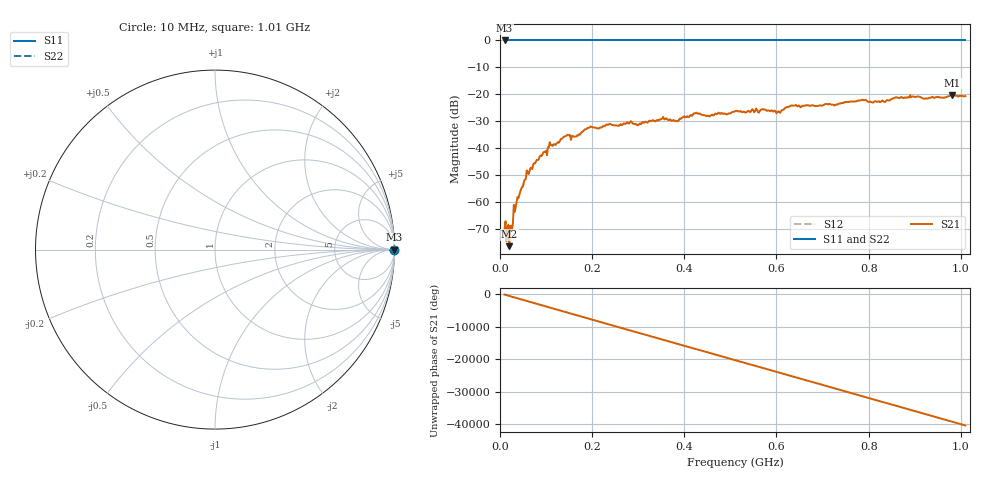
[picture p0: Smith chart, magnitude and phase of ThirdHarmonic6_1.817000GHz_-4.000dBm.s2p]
! 8/16/2025 10:00:54 PM
! C:\ANRITSUVNA\TEMP\TEMP.S2P
! CHANNEL.1
! TR.MEASUREMENT
! RAW.DATA
! RF.CORRECTION.OFF
! AVERAGING.OFF
! IF.BANDWIDTH: 5KHZ
! SWEEPTYPE:  FREQ.SWEEP(Linear)
! Reference Plane Port Info
! PORT:  PORT1  PORT2
! DISTANCE:  0  m  0  m
! TIME:  0  s  0  s
! PHASE.OFFSET:  0  deg.  0  deg.
! LOSS:  0  dB  0  dB
! REF.LOSS:  0  dB  0  dB
! REF.FREQ:  0  Hz  0  Hz
! Power Info
! POWER:  -20  dBm  -20  dBm
! EFF.POWER:  -20  dBm  -20  dBm
! SOURCE.ATTEN:  0  dB  0  dB
! TEST.ATTEN:  0  dB  0  dB
# GHZ S RI R 50.0
! FREQ.GHZ  S11RE  S11IM  S21RE  S21IM  S12RE  S12IM  S22RE  S22IM
!; PortSelection: Port_12
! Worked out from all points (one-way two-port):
!   501 points, 10 MHz to 1.01 GHz, reference 50 ohm
!   highest |S21| = -20.25 dB at 982 MHz (marker M1); lowest = -76.3 dB at 20 MHz (marker M2)
!   lowest |S11| = 0.0 dB at 10 MHz (marker M3)
!   |S11| at or under -10 dB: nowhere
!   |S22| runs from 0.0 to 0.0 dB; largest |S21 - S12| = 1.1
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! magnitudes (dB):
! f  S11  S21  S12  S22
! 10 MHz  0.0  -69.8  0.0  0.0
! 18 MHz  0.0  -68.3  0.0  0.0
! 20 MHz  0.0  -76.3  0.0  0.0
! 24 MHz  0.0  -68.7  0.0  0.0
! 26 MHz  0.0  -70.1  0.0  0.0
! 34 MHz  0.0  -61.8  0.0  0.0
! 56 MHz  0.0  -51.3  0.0  0.0
! 76 MHz  0.0  -45.6  0.0  0.0
! 108 MHz  0.0  -37.7  0.0  0.0
! 178 MHz  0.0  -33.9  0.0  0.0
! 196 MHz  0.0  -31.9  0.0  0.0
! 344 MHz  0.0  -29.7  0.0  0.0
! 384 MHz  0.0  -29.8  0.0  0.0
! 424 MHz  0.0  -27.0  0.0  0.0
! 452 MHz  0.0  -27.9  0.0  0.0
! 510 MHz  0.0  -26.3  0.0  0.0
! 604 MHz  0.0  -26.3  0.0  0.0
! 632 MHz  0.0  -24.1  0.0  0.0
! 678 MHz  0.0  -24.0  0.0  0.0
! 844 MHz  0.0  -22.3  0.0  0.0
! 982 MHz  0.0  -20.2  0.0  0.0
! 1.01 GHz  0.0  -20.6  0.0  0.0
